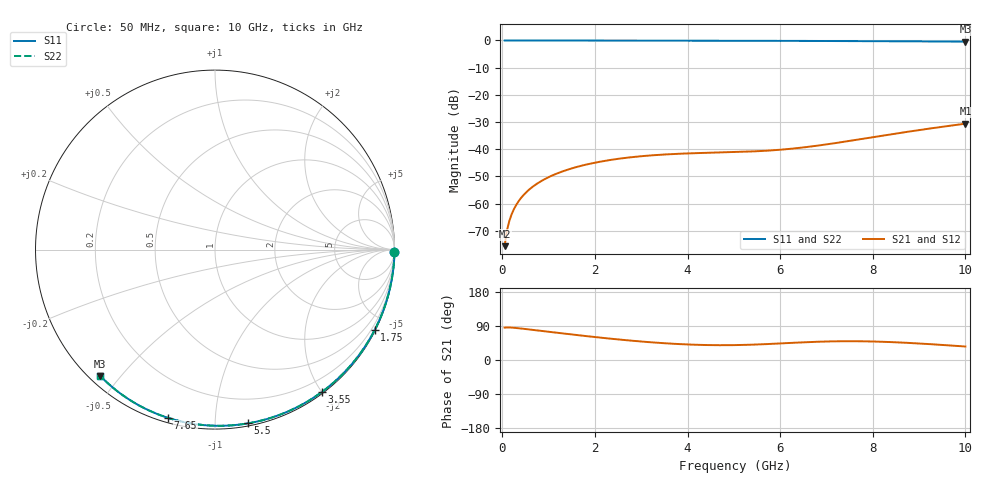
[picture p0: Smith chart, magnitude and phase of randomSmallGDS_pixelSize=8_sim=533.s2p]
! freq	dB(S11)	phase(S11)	dB(S12)	phase(S12)
!  dB(S21)	phase(S21)	dB(S22)	phase(S22)
!S-par simulation data
#  GHz  S  DB  R 50
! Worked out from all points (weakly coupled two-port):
!   200 points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, 50 MHz to 10 GHz, reference 50 ohm
!   highest |S21| = -30.61 dB at 10 GHz (marker M1); lowest = -75.6 dB at 50 MHz (marker M2)
!   lowest |S11| = -0.4 dB at 10 GHz (marker M3), VSWR 39.65, Z = 1.51 - j22.1 ohm
!   |S11| at or under -10 dB: nowhere
!   |S22| runs from -0.4 to 0.0 dB; largest |S21 - S12| = 0
!   S11 on the Smith chart (normalised r, x): 50 MHz: open; 1.75 GHz: 0.04, -4.20; 3.55 GHz: 0.02, -2.01; 5.5 GHz: 0.02, -1.21; 7.65 GHz: 0.02, -0.76; 10 GHz: 0.03, -0.44
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0.05  -0.00 -0.8  -75.65 85.3  -75.65 85.3  -0.00 -0.8
0.1  -0.00 -1.6  -69.90 85.9  -69.90 85.9  -0.00 -1.6
0.15  -0.00 -2.3  -66.45 85.9  -66.45 85.9  -0.00 -2.3
0.2  -0.00 -3.1  -63.99 85.5  -63.99 85.5  -0.00 -3.1
0.25  -0.00 -3.9  -62.07 85.0  -62.07 85.0  -0.00 -3.9
0.35  -0.00 -5.4  -59.17 83.8  -59.17 83.8  -0.00 -5.4
0.5  -0.01 -7.8  -56.11 81.8  -56.11 81.8  -0.01 -7.8
0.7  -0.01 -10.8  -53.25 78.9  -53.25 78.9  -0.01 -10.8
1  -0.02 -15.4  -50.27 74.5  -50.27 74.5  -0.02 -15.4
1.35  -0.03 -20.7  -47.85 69.5  -47.85 69.5  -0.03 -20.8
1.75  -0.03 -26.8  -45.89 63.9  -45.89 63.9  -0.03 -26.8
2.5  -0.05 -37.9  -43.53 54.3  -43.53 54.3  -0.05 -37.9
3.4  -0.07 -50.9  -42.04 45.1  -42.04 45.1  -0.07 -50.9
3.55  -0.07 -53.0  -41.89 43.9  -41.89 43.9  -0.07 -53.0
4.3  -0.09 -63.4  -41.38 39.8  -41.38 39.8  -0.09 -63.4
5.05  -0.11 -73.4  -41.03 39.4  -41.03 39.4  -0.11 -73.4
5.5  -0.13 -79.2  -40.73 40.9  -40.73 40.9  -0.13 -79.3
6.15  -0.15 -87.5  -39.96 44.6  -39.96 44.6  -0.15 -87.5
6.7  -0.18 -94.3  -38.92 47.7  -38.92 47.7  -0.18 -94.3
7.65  -0.24 -105.6  -36.53 49.5  -36.53 49.5  -0.24 -105.6
8.35  -0.29 -113.7  -34.63 47.5  -34.63 47.5  -0.29 -113.7
10  -0.44 -132.2  -30.61 35.6  -30.61 35.6  -0.44 -132.2
